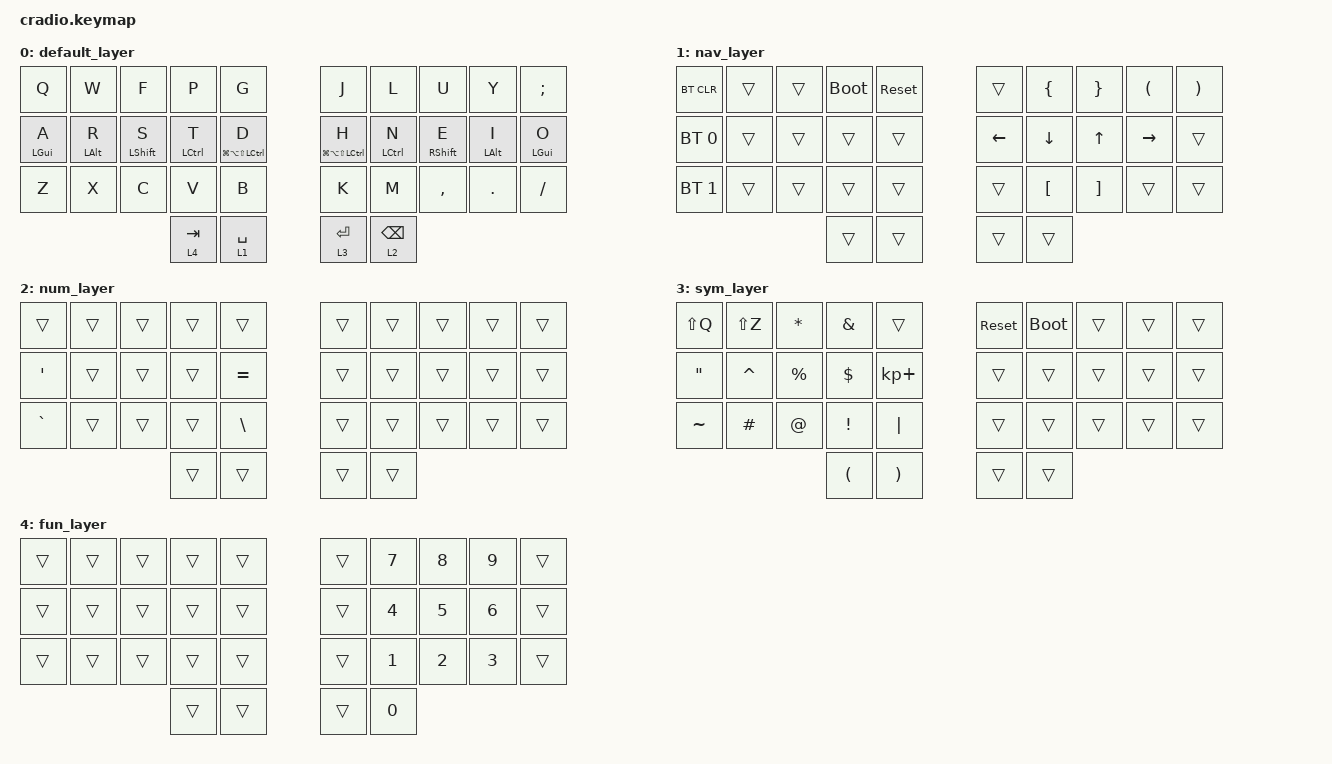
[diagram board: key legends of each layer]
/*
 * Copyright (c) 2020 The ZMK Contributors
 *
 * SPDX-License-Identifier: MIT
 */

#include <behaviors.dtsi>
#include <behaviors.dtsi>
#include <dt-bindings/zmk/bt.h>
#include <dt-bindings/zmk/keys.h>
#include <dt-bindings/zmk/outputs.h>

#define COLEMAK 0
#define NAV 1
#define NUM 2
#define SYM 3
#define FUN 4

/* krita base */

#define KRB 5

/* play */

#define PLAY 6

&mt {
    flavor = "tap-preferred";
    tapping_term_ms = <200>;
};

/ {
    combos {
        compatible = "zmk,combos";

        combo_caps_word {
            timeout-ms = <100>;
            key-positions = <20 29>;
            bindings = <&caps_word>;
        };

        combo_esc {
            timeout-ms = <100>;
            key-positions = <12 13 16 17>;
            bindings = <&kp ESC>;
        };

        combo_minus {
            timeout-ms = <100>;
            key-positions = <2 3 6 7>;
            bindings = <&kp MINUS>;
        };

        combo_under {
            timeout-ms = <100>;
            key-positions = <22 23 26 27>;
            bindings = <&kp UNDER>;
        };

        combo_ble {
            timeout-ms = <20>;
            key-positions = <0 1>;
            bindings = <&out OUT_BLE>;
        };
    };

    keymap {
        compatible = "zmk,keymap";

        default_layer {
            bindings = <
     &kp Q       &kp W         &kp F        &kp P                    &kp G                      &kp J        &kp L         &kp U       &kp Y    &kp SCLN
&mt LGUI A  &mt LALT R  &mt LSHIFT S  &mt LCTRL T  &mt LG(LA(LS(LCTRL))) D    &mt LG(LA(LS(LCTRL))) H  &mt LCTRL N  &mt RSHIFT E  &mt LALT I  &mt LGUI O
     &kp Z       &kp X         &kp C        &kp V                    &kp B                      &kp K        &kp M      &kp CMMA     &kp DOT    &kp FSLH
                                        &lt 4 TAB                &lt 1 SPC                  &lt 3 RET   &lt 2 BSPC
            >;
        };

        nav_layer {
            bindings = <
  &bt BT_CLR  &trans  &trans  &bootloader  &sys_reset      &trans  &kp LBRC  &kp RBRC   &kp LPAR  &kp RPAR
&bt BT_SEL 0  &trans  &trans       &trans      &trans    &kp LEFT  &kp DOWN    &kp UP  &kp RIGHT    &trans
&bt BT_SEL 1  &trans  &trans       &trans      &trans      &trans  &kp LBKT  &kp RBKT     &trans    &trans
                                   &trans      &trans      &trans    &trans
            >;
        };

        num_layer {
            bindings = <
   &trans  &trans  &trans  &trans     &trans    &trans  &trans  &trans  &trans  &trans
  &kp SQT  &trans  &trans  &trans  &kp EQUAL    &trans  &trans  &trans  &trans  &trans
&kp GRAVE  &trans  &trans  &trans   &kp BSLH    &trans  &trans  &trans  &trans  &trans
                           &trans     &trans    &trans  &trans
            >;
        };

        sym_layer {
            bindings = <
&kp LS(Q)  &kp LS(Z)   &kp STAR  &kp AMPS       &trans    &sys_reset  &bootloader  &trans  &trans  &trans
  &kp DQT  &kp CARET  &kp PRCNT  &kp DLLR  &kp KP_PLUS        &trans       &trans  &trans  &trans  &trans
&kp TILDE   &kp HASH     &kp AT  &kp EXCL     &kp PIPE        &trans       &trans  &trans  &trans  &trans
                                 &kp LPAR     &kp RPAR        &trans       &trans
            >;
        };

        fun_layer {
            bindings = <
&trans  &trans  &trans  &trans  &trans    &trans  &kp N7  &kp N8  &kp N9  &trans
&trans  &trans  &trans  &trans  &trans    &trans  &kp N4  &kp N5  &kp N6  &trans
&trans  &trans  &trans  &trans  &trans    &trans  &kp N1  &kp N2  &kp N3  &trans
                        &trans  &trans    &trans  &kp N0
            >;
        };
    };
};
